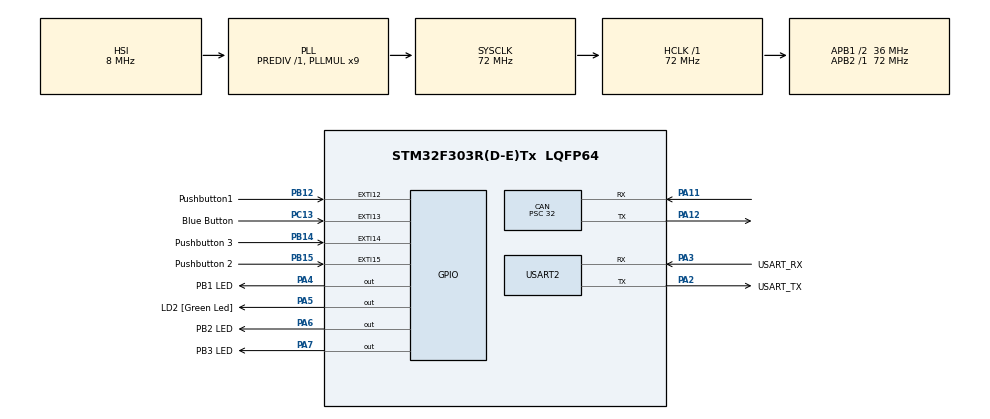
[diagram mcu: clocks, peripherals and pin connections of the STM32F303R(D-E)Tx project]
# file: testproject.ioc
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CAN.BS1=CAN_BS1_4TQ
CAN.BS2=CAN_BS2_4TQ
CAN.CalculateBaudRate=125000
CAN.CalculateTimeBit=8000
CAN.CalculateTimeQuantum=888.8888888888889
CAN.Prescaler=32
Mcu.Family=STM32F3
Mcu.Name=STM32F303R(D-E)Tx
Mcu.Package=LQFP64
NVIC.EXTI15_10_IRQn=true\:0\:0\:false\:false\:true\:true\:true\:true
NVIC.PriorityGroup=NVIC_PRIORITYGROUP_0
NVIC.USB_LP_CAN_RX0_IRQn=true\:0\:0\:false\:false\:true\:true\:true\:true
PA11.Mode=CAN_Activate
PA11.Signal=CAN_RX
PA12.Mode=CAN_Activate
PA12.Signal=CAN_TX
PA13.GPIO_Label=TMS
PA13.Mode=Serial_Wire
PA13.Signal=SYS_JTMS-SWDIO
PA14.GPIO_Label=TCK
PA14.Mode=Serial_Wire
PA14.Signal=SYS_JTCK-SWCLK
PA2.GPIO_Label=USART_TX
PA2.GPIO_Mode=GPIO_MODE_AF_PP
PA2.GPIO_PuPd=GPIO_NOPULL
PA2.GPIO_Speed=GPIO_SPEED_FREQ_LOW
PA2.Mode=Asynchronous
PA2.Signal=USART2_TX
PA3.GPIO_Label=USART_RX
PA3.GPIO_Mode=GPIO_MODE_AF_PP
PA3.GPIO_PuPd=GPIO_NOPULL
PA3.GPIO_Speed=GPIO_SPEED_FREQ_LOW
PA3.Mode=Asynchronous
PA3.Signal=USART2_RX
PA4.GPIO_Label=PB1 LED
PA4.Signal=GPIO_Output
PA5.GPIO_Label=LD2 [Green Led]
PA5.GPIO_Mode=GPIO_MODE_OUTPUT_PP
PA5.GPIO_PuPd=GPIO_NOPULL
PA5.GPIO_Speed=GPIO_SPEED_FREQ_LOW
PA5.Signal=GPIO_Output
PA6.GPIO_Label=PB2 LED
PA6.Signal=GPIO_Output
PA7.GPIO_Label=PB3 LED
PA7.Signal=GPIO_Output
PB12.GPIO_Label=Pushbutton1
PB12.GPIO_ModeDefaultEXTI=GPIO_MODE_IT_FALLING
PB12.Signal=GPXTI12
PB14.GPIO_Label=Pushbutton 3
PB14.GPIO_ModeDefaultEXTI=GPIO_MODE_IT_FALLING
PB14.Signal=GPXTI14
PB15.GPIO_Label=Pushbutton 2
PB15.GPIO_ModeDefaultEXTI=GPIO_MODE_IT_FALLING
PB15.Signal=GPXTI15
PB3.GPIO_Label=SWO
PB3.Signal=SYS_JTDO-TRACESWO
PC13.GPIO_Label=Blue Button
PC13.GPIO_ModeDefaultEXTI=GPIO_MODE_IT_RISING
PC13.Signal=GPXTI13
PC14-OSC32_IN.Mode=LSE-External-Oscillator
PC14-OSC32_IN.Signal=RCC_OSC32_IN
PC15-OSC32_OUT.Mode=LSE-External-Oscillator
PC15-OSC32_OUT.Signal=RCC_OSC32_OUT
PF0-OSC_IN.Mode=HSE-External-Clock-Source
PF0-OSC_IN.Signal=RCC_OSC_IN
PF1-OSC_OUT.Signal=RCC_OSC_OUT
ProjectManager.HeapSize=0x200
ProjectManager.StackSize=0x400
ProjectManager.TargetToolchain=STM32CubeIDE
RCC.AHBFreq_Value=72000000
RCC.APB1CLKDivider=RCC_HCLK_DIV2
RCC.APB1Freq_Value=36000000
RCC.APB1TimFreq_Value=72000000
RCC.APB2Freq_Value=72000000
RCC.APB2TimFreq_Value=72000000
RCC.CortexFreq_Value=72000000
RCC.HCLKFreq_Value=72000000
RCC.HSE_VALUE=8000000
RCC.HSI_VALUE=8000000
RCC.PLLM=8
RCC.PLLMUL=RCC_PLL_MUL9
RCC.PLLN=336
RCC.PLLP=RCC_PLLP_DIV4
RCC.PLLQ=7
RCC.RCC_PLLsource_Clock_Source_FROM_HSE=RCC_HSE_PREDIV_DIV2
RCC.SYSCLKFreq_VALUE=72000000
RCC.SYSCLKSourceVirtual=RCC_SYSCLKSOURCE_PLLCLK
RCC.USBFreq_Value=72000000
USART2.VirtualMode-Asynchronous=VM_ASYNC
board=NUCLEO-F303RE

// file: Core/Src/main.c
/* USER CODE BEGIN Header */
/**
  ******************************************************************************
  * @file           : main.c
  * @brief          : Main program body
  ******************************************************************************
  * @attention
  *
  * Copyright (c) 2024 STMicroelectronics.
  * All rights reserved.
  *
  * This software is licensed under terms that can be found in the LICENSE file
  * in the root directory of this software component.
  * If no LICENSE file comes with this software, it is provided AS-IS.
  *
  ******************************************************************************
  */
/* USER CODE END Header */
#include "main.h"

/* USER CODE BEGIN PD */
#define		ID						0x0100		//ID of supervisory controller - Change this depending on floor #
#define		GO_TO_FLOOR_1			0x05		//floor 1
#define		GO_TO_FLOOR_2			0x06		//Floor 2
#define		GO_TO_FLOOR_3			0x07		//floor 3
#define		NO_BUTTON_PRESSED		0			//defaut value of the button flag - no button pressed
#define		BLUE_BUTTON_PRESSED		1			//value of button when blue button is pressed

/* USER CODE END PD */

CAN_HandleTypeDef hcan;

UART_HandleTypeDef huart2;

/* USER CODE BEGIN PV */
CAN_TxHeaderTypeDef		TxHeader;
CAN_RxHeaderTypeDef		RxHeader;
uint8_t					TxData[8];
uint8_t					RxData[8];
uint32_t				TxMailbox;
uint8_t msg = GO_TO_FLOOR_1;
uint8_t BUTTON = NO_BUTTON_PRESSED;
uint8_t i;
/* USER CODE END PV */

void SystemClock_Config(void);
static void MX_GPIO_Init(void);
static void MX_USART2_UART_Init(void);
static void MX_CAN_Init(void);

int main(void)
{

  /* MCU Configuration--------------------------------------------------------*/

  /* Reset of all peripherals, Initializes the Flash interface and the Systick. */
  HAL_Init();

  /* Configure the system clock */
  SystemClock_Config();

  /* Initialize all configured peripherals */
  MX_GPIO_Init();
  MX_USART2_UART_Init();
  MX_CAN_Init();

  /* Infinite loop */
  while (1)
  {

    /* USER CODE BEGIN 3 */
	  if (RxData[0] == GO_TO_FLOOR_1){
		  HAL_GPIO_TogglePin(GPIOA, GPIO_PIN_5);
		  HAL_GPIO_TogglePin(GPIOA, GPIO_PIN_4);
		  HAL_GPIO_TogglePin(GPIOA, GPIO_PIN_6);
		  HAL_GPIO_TogglePin(GPIOA, GPIO_PIN_7);
		  HAL_GPIO_TogglePin(GPIOA, GPIO_PIN_0);
		  HAL_GPIO_TogglePin(GPIOA, GPIO_PIN_1);
		  HAL_Delay(2000);
		  for (i=0; i<8; i++) {
			  RxData[i] = 0x00;

		  }
		  HAL_GPIO_TogglePin(GPIOA, GPIO_PIN_5);
		  HAL_GPIO_TogglePin(GPIOA, GPIO_PIN_4);
		  HAL_GPIO_TogglePin(GPIOA, GPIO_PIN_6);
		  HAL_GPIO_TogglePin(GPIOA, GPIO_PIN_7);
		  HAL_GPIO_TogglePin(GPIOA, GPIO_PIN_0);
		  HAL_GPIO_TogglePin(GPIOA, GPIO_PIN_1);
		  HAL_Delay(100);

	  }

	  //Transmit
	  if (BUTTON != 0) {
		  if (BUTTON == BLUE_BUTTON_PRESSED){
			  HAL_GPIO_TogglePin(GPIOA, GPIO_PIN_5);
			  HAL_Delay(2000);
			  TxData[0] = msg;
			  if (HAL_CAN_AddTxMessage(&hcan, &TxHeader, TxData, &TxMailbox) != HAL_OK) {
				  Error_Handler();
			  }
			  HAL_GPIO_TogglePin(GPIOA, GPIO_PIN_5);
			  BUTTON = NO_BUTTON_PRESSED;
		  }

	  }
  }
  /* USER CODE END 3 */
}

void SystemClock_Config(void)
{
  RCC_OscInitTypeDef RCC_OscInitStruct = {0};
  RCC_ClkInitTypeDef RCC_ClkInitStruct = {0};
  RCC_PeriphCLKInitTypeDef PeriphClkInit = {0};

  /** Initializes the RCC Oscillators according to the specified parameters
  * in the RCC_OscInitTypeDef structure.
  */
  RCC_OscInitStruct.OscillatorType = RCC_OSCILLATORTYPE_HSI;
  RCC_OscInitStruct.HSIState = RCC_HSI_ON;
  RCC_OscInitStruct.HSICalibrationValue = RCC_HSICALIBRATION_DEFAULT;
  RCC_OscInitStruct.PLL.PLLState = RCC_PLL_ON;
  RCC_OscInitStruct.PLL.PLLSource = RCC_PLLSOURCE_HSI;
  RCC_OscInitStruct.PLL.PLLMUL = RCC_PLL_MUL9;
  RCC_OscInitStruct.PLL.PREDIV = RCC_PREDIV_DIV1;
  if (HAL_RCC_OscConfig(&RCC_OscInitStruct) != HAL_OK)
  {
    Error_Handler();
  }

  /** Initializes the CPU, AHB and APB buses clocks
  */
  RCC_ClkInitStruct.ClockType = RCC_CLOCKTYPE_HCLK|RCC_CLOCKTYPE_SYSCLK
                              |RCC_CLOCKTYPE_PCLK1|RCC_CLOCKTYPE_PCLK2;
  RCC_ClkInitStruct.SYSCLKSource = RCC_SYSCLKSOURCE_PLLCLK;
  RCC_ClkInitStruct.AHBCLKDivider = RCC_SYSCLK_DIV1;
  RCC_ClkInitStruct.APB1CLKDivider = RCC_HCLK_DIV2;
  RCC_ClkInitStruct.APB2CLKDivider = RCC_HCLK_DIV1;

  if (HAL_RCC_ClockConfig(&RCC_ClkInitStruct, FLASH_LATENCY_2) != HAL_OK)
  {
    Error_Handler();
  }
  PeriphClkInit.PeriphClockSelection = RCC_PERIPHCLK_USART2;
  PeriphClkInit.Usart2ClockSelection = RCC_USART2CLKSOURCE_PCLK1;
  if (HAL_RCCEx_PeriphCLKConfig(&PeriphClkInit) != HAL_OK)
  {
    Error_Handler();
  }
}

static void MX_CAN_Init(void)
{

  hcan.Instance = CAN;
  hcan.Init.Prescaler = 32;
  hcan.Init.Mode = CAN_MODE_NORMAL;
  hcan.Init.SyncJumpWidth = CAN_SJW_1TQ;
  hcan.Init.TimeSeg1 = CAN_BS1_4TQ;
  hcan.Init.TimeSeg2 = CAN_BS2_4TQ;
  hcan.Init.TimeTriggeredMode = DISABLE;
  hcan.Init.AutoBusOff = DISABLE;
  hcan.Init.AutoWakeUp = DISABLE;
  hcan.Init.AutoRetransmission = DISABLE;
  hcan.Init.ReceiveFifoLocked = DISABLE;
  hcan.Init.TransmitFifoPriority = DISABLE;
  if (HAL_CAN_Init(&hcan) != HAL_OK)
  {
    Error_Handler();
  }
  /* USER CODE BEGIN CAN_Init 2 */
  /* *** Set up CAN Rx filters *** */
  CAN_FilterTypeDef filter;

  /* Configure filter 0 to direct everything to FIFO 0*/
  filter.FilterBank = 0;
  filter.FilterIdHigh = 0x0100 << 5;
  filter.FilterIdLow = 0x0000;
  filter.FilterMaskIdHigh = 0xFFC <<5;
  filter.FilterMaskIdLow = 0x0000;
  filter.FilterFIFOAssignment = CAN_FILTER_FIFO0;
  filter.FilterMode = CAN_FILTERMODE_IDMASK;
  filter.FilterScale = CAN_FILTERSCALE_32BIT;
  filter.FilterActivation = ENABLE;
  filter.SlaveStartFilterBank = 0;

  if(HAL_CAN_ConfigFilter(&hcan, &filter) != HAL_OK) {
	  Error_Handler();
  }

  /* *** Start the CAN peripheral *** */
  if (HAL_CAN_Start(&hcan) != HAL_OK) {
	  Error_Handler();
  }

  /* *** Activate CAN Rx notification interrupt *** */
  if (HAL_CAN_ActivateNotification(&hcan, CAN_IT_RX_FIFO0_MSG_PENDING) != HAL_OK) {
	  Error_Handler();
  }

  /* *** Prepare header fields for Standard Mode CAN Transmission *** */
  TxHeader.IDE = CAN_ID_STD;
  TxHeader.ExtId = 0x00;
  TxHeader.StdId = ID;
  TxHeader.RTR = CAN_RTR_DATA;
  TxHeader.DLC = 1;
  TxHeader.TransmitGlobalTime = DISABLE;

  /*****************************************/
  /* USER CODE END CAN_Init 2 */

}

static void MX_USART2_UART_Init(void)
{

  huart2.Instance = USART2;
  huart2.Init.BaudRate = 38400;
  huart2.Init.WordLength = UART_WORDLENGTH_8B;
  huart2.Init.StopBits = UART_STOPBITS_1;
  huart2.Init.Parity = UART_PARITY_NONE;
  huart2.Init.Mode = UART_MODE_TX_RX;
  huart2.Init.HwFlowCtl = UART_HWCONTROL_NONE;
  huart2.Init.OverSampling = UART_OVERSAMPLING_16;
  huart2.Init.OneBitSampling = UART_ONE_BIT_SAMPLE_DISABLE;
  huart2.AdvancedInit.AdvFeatureInit = UART_ADVFEATURE_NO_INIT;
  if (HAL_UART_Init(&huart2) != HAL_OK)
  {
    Error_Handler();
  }

}

static void MX_GPIO_Init(void)
{
  GPIO_InitTypeDef GPIO_InitStruct = {0};

  /* GPIO Ports Clock Enable */
  __HAL_RCC_GPIOC_CLK_ENABLE();
  __HAL_RCC_GPIOF_CLK_ENABLE();
  __HAL_RCC_GPIOA_CLK_ENABLE();
  __HAL_RCC_GPIOB_CLK_ENABLE();

  /*Configure GPIO pin Output Level */
  HAL_GPIO_WritePin(GPIOA, PB1_LED_Pin|LD2_Pin|PB2_LED_Pin|PB3_LED_Pin, GPIO_PIN_RESET);

  /*Configure GPIO pin : Blue_Button_Pin */
  GPIO_InitStruct.Pin = Blue_Button_Pin;
  GPIO_InitStruct.Mode = GPIO_MODE_IT_RISING;
  GPIO_InitStruct.Pull = GPIO_NOPULL;
  HAL_GPIO_Init(Blue_Button_GPIO_Port, &GPIO_InitStruct);

  /*Configure GPIO pins : PB1_LED_Pin LD2_Pin PB2_LED_Pin PB3_LED_Pin */
  GPIO_InitStruct.Pin = PB1_LED_Pin|LD2_Pin|PB2_LED_Pin|PB3_LED_Pin;
  GPIO_InitStruct.Mode = GPIO_MODE_OUTPUT_PP;
  GPIO_InitStruct.Pull = GPIO_NOPULL;
  GPIO_InitStruct.Speed = GPIO_SPEED_FREQ_LOW;
  HAL_GPIO_Init(GPIOA, &GPIO_InitStruct);

  /*Configure GPIO pins : Pushbutton1_Pin Pushbutton_3_Pin Pushbutton_2_Pin */
  GPIO_InitStruct.Pin = Pushbutton1_Pin|Pushbutton_3_Pin|Pushbutton_2_Pin;
  GPIO_InitStruct.Mode = GPIO_MODE_IT_FALLING;
  GPIO_InitStruct.Pull = GPIO_NOPULL;
  HAL_GPIO_Init(GPIOB, &GPIO_InitStruct);

  /* EXTI interrupt init*/
  HAL_NVIC_SetPriority(EXTI15_10_IRQn, 0, 0);
  HAL_NVIC_EnableIRQ(EXTI15_10_IRQn);

}

/* USER CODE BEGIN 4 */

/***************************************/

//Override the HAL_CAN_RxFifo0MsgPendingCallback function.
//This is called when the interrupt for FIFO0 is triggered.
/***************************************/
void HAL_CAN_RxFifo0MsgPendingCallback(CAN_HandleTypeDef *hcan) {
	/* Get RX message and store in RxData[] buffer*/
	if (HAL_CAN_GetRxMessage(hcan, CAN_RX_FIFO0, &RxHeader, RxData) != HAL_OK) {
		/* Reception Error */
		Error_Handler();
	}

}

// Override the HAL_GPIO Callback
void HAL_GPIO_EXTI_Callback(uint16_t GPIO_Pin){
	// Set the BUTTON Flag to indicate which button was pressed
	if (GPIO_Pin == GPIO_PIN_13){
		BUTTON = BLUE_BUTTON_PRESSED;
	}
}
/* USER CODE END 4 */

void Error_Handler(void)
{
  __disable_irq();
  while (1)
  {
  }
}
